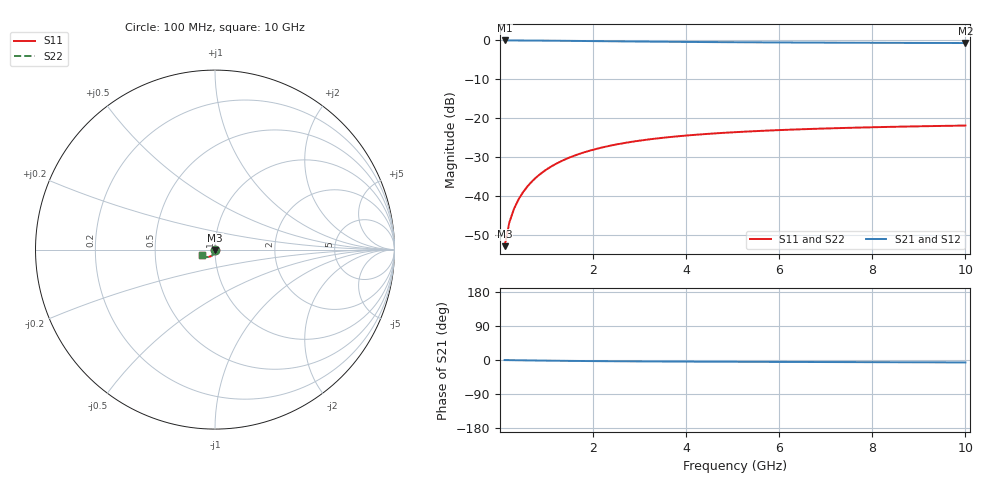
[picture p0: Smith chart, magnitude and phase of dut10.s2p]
! Touchstone file exported from HFSS 2024.1.0
!  File:  C:/UserFiles/LocalFiles/RDL_TSV_Batchsim/temp_TSV1_10_1779368041.aedt
!  Generated:  08:58:26 PM May 21, 2026
!  Design:  TSV1
!  Project:  temp_TSV1_10_1779368041
!  Setup:  Setup1
!  Solution:  Sweep
! Variables:
!  dtsv = 14.38um
!  hbump = 3um
!  htsv = 98.25um
!  lrdl = 252.1521522um
!  p = 40
!  p1 = 46.89um
!  t = 500um
!  trdl = 3um
!  wrdl = 24.89489489um
# GHz S MA R 50.000000
! Terminal data exported
! Port[1] = TSV22_T1
! Port[2] = TSV22_T2
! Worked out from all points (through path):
!   100 points, 100 MHz to 10 GHz, reference 50 ohm
!   highest |S21| = 0.00 dB at 100 MHz (marker M1); lowest = -0.7 dB at 10 GHz (marker M2)
!   lowest |S11| = -52.8 dB at 100 MHz (marker M3), VSWR 1.00, Z = 50 - j0.229 ohm
!   |S11| at or under -10 dB: start of sweep to end of sweep
!   |S22| runs from -52.8 to -21.9 dB; largest |S21 - S12| = 4.2e-15
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0.1  0.002286 -89.3  0.9998 -0.2  0.9998 -0.2  0.002286 -89.3
! Gamma 0 0 0 0
! Port Impedance 50 0 50 0
0.2  0.004572 -91.9  0.9996 -0.4  0.9996 -0.4  0.004572 -91.9
0.3  0.006856 -93.9  0.9993 -0.5  0.9993 -0.5  0.006856 -93.9
0.4  0.009126 -95.7  0.9988 -0.7  0.9988 -0.7  0.009126 -95.7
0.5  0.01137 -97.4  0.9982 -0.9  0.9982 -0.9  0.01137 -97.4
0.6  0.01359 -99.2  0.9975 -1.0  0.9975 -1.0  0.01359 -99.2
0.7  0.01578 -100.8  0.9967 -1.2  0.9967 -1.2  0.01578 -100.8
0.8  0.01792 -102.4  0.9959 -1.4  0.9959 -1.4  0.01792 -102.4
0.9  0.02002 -104.0  0.9949 -1.5  0.9949 -1.5  0.02002 -104.0
1.1  0.02406 -107.1  0.9927 -1.8  0.9927 -1.8  0.02406 -107.1
1.4  0.02973 -111.4  0.9891 -2.2  0.9891 -2.2  0.02973 -111.4
1.6  0.03322 -114.1  0.9865 -2.5  0.9865 -2.5  0.03322 -114.1
1.8  0.03648 -116.7  0.9838 -2.7  0.9838 -2.7  0.03648 -116.7
2.1  0.04095 -120.2  0.9797 -3.0  0.9797 -3.0  0.04095 -120.2
2.5  0.04618 -124.5  0.9744 -3.3  0.9744 -3.3  0.04618 -124.5
2.9  0.05068 -128.2  0.9693 -3.6  0.9693 -3.6  0.05068 -128.2
3.4  0.05543 -132.2  0.9636 -3.9  0.9636 -3.9  0.05543 -132.2
4.2  0.06149 -137.6  0.9556 -4.3  0.9556 -4.3  0.06149 -137.6
5.1  0.06667 -142.3  0.9483 -4.7  0.9483 -4.7  0.06667 -142.3
6.7  0.07317 -148.6  0.9387 -5.3  0.9387 -5.3  0.07317 -148.6
8.4  0.07777 -153.5  0.9316 -5.9  0.9316 -5.9  0.07777 -153.5
10  0.0808 -157.0  0.9268 -6.4  0.9268 -6.4  0.0808 -157.0
